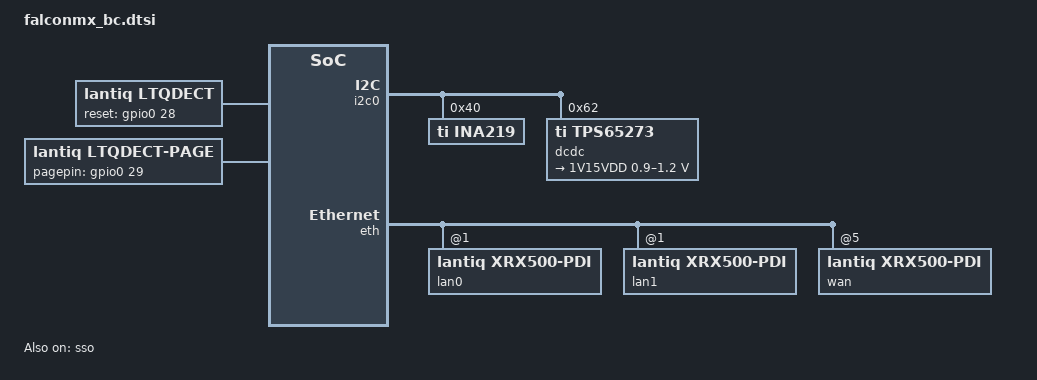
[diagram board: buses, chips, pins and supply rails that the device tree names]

/******************************************************************************
 ** Board configuration: Enable dect SS.
 ******************************************************************************/
/ {
dect {
	compatible = "lantiq,ltqdect";
	lantiq,dect-spi-int=<302>; /*271 GPIO base + GPIO 31 for cosic interrupt and driver Probe fn will look for string dect-spi-int */
	lantiq,dect-cs= <0>; /*DECT chip select port Number; This is used by SSC interface*/
	gpio-reset = <&gpio0 28 0>;
	status = "ok";
	};

dect-page {
	compatible = "lantiq,ltqdect-page";
	lantiq,pagebit= <1>; /*DECT Page Bit: Bit info meant for DECT*/
	lantiq,pagepin= <&gpio0 29 0>;
	status = "ok";
	};
};

/******************************************************************************
 ** Board configuration: Enable spi0 configuration.
 ******************************************************************************/

/******************************************************************************
 ** Board configuration: Enable PCIe board configuration.
 ** PCIE sub-system feature configuration, the pcie0/1/2 are defined in Soc level
 ******************************************************************************/
&pcie0 {
	status = "disabled";
	lantiq,rst-high-active = <0>; /* 0 - low activ, 1 -- high active */
	lantiq,rst-interval = <200>; /* in mili-seconds, up to 500 ms*/
	lantiq,inbound-swap = <1>; /* 0 -- no swap, 1 -- swap */
	lantiq,outbound-swap = <0>; /* 0 -- no swap, 1 -- swap */
	lantiq,phy-mode = <0>; /* 0 -36Mhz, 1 - 36MHzSSC, 2 - 25Mhz, 3 - 25MHzSSC, 4 - 100MHz, 5 - 100MHz SSC */
	reset-gpio = <&gpio0 21 0>; /* default value , it can be updated on board. */
	lantiq,cphy-mode = <0>; /* 0, 1, 4, 5 */
};

&pcie1 {
	status = "disabled";
	lantiq,rst-high-active = <0>; /* 0 - low activ, 1 -- high active */
	lantiq,rst-interval = <200>; /* in mili-seconds, up to 500 ms*/
	lantiq,inbound-swap = <1>; /* 0 -- no swap, 1 -- swap */
	lantiq,outbound-swap = <0>; /* 0 -- no swap, 1 -- swap */
	lantiq,phy-mode = <0>; /* 0 -36Mhz, 1 - 36MHzSSC, 2 - 25Mhz, 3 - 25MHzSSC, 4 - 100MHz, 5 - 100MHz SSC */
	reset-gpio = <&gpio0 22 0>; /* default value , it can be updated on board. */
	lantiq,cphy-mode = <0>;
};

/******************************************************************************
 ** Board configuration: Enable Shift register LED board configuration.
 ** Based on GRX500 Emulation Board.
 ******************************************************************************/
&sso {
	status = "okay";
	/* lantiq,rising; */
	#address-cells = <1>;
	#size-cells = <0>;
	lantiq,groups = <0xf>;

	/* led33-29 used by gphy */
	lantiq,phy2 = <0x1>;
	lantiq,phy3 = <0x1>;
	lantiq,phy4 = <0x1>;
	lantiq,phy5 = <0x1>;
	lantiq,phy6 = <0x1>;

	/* led28-14 (single color) */
	led28 {
		label = "led28";
		reg = <0x5>;
	};
	led27 {
		label = "led27";
		reg = <0x6>;
	};
	led26 {
		label = "led26";
		reg = <0x7>;
	};
	led25 {
		label = "led25";
		reg = <0x8>;
	};
	led24 {
		label = "led24";
		reg = <0x9>;
	};
	led23 {
		label = "led23";
		reg = <0xa>;
	};
	led22 {
		label = "led22";
		reg = <0xb>;
	};
	led21 {
		label = "led21";
		reg = <0xc>;
	};
	led20 {
		label = "led20";
		reg = <0xd>;
	};
	led19 {
		label = "led19";
		reg = <0xe>;
	};
	led18 {
		label = "led18";
		reg = <0xf>;
	};
	led17 {
		label = "led17";
		reg = <0x10>;
	};
	led16 {
		label = "led16";
		reg = <0x11>;
	};
	led15 {
		label = "led15";
		reg = <0x12>;
	};
	led14 {
		label = "led14";
		reg = <0x13>;
	};

	/* led5-2 (multicolor) */
	led5_r {
		label = "led5_r";
		reg = <0x14>;
	};
	led5_g {
		label = "led5_g";
		reg = <0x15>;
	};
	led5_b {
		label = "led5_b";
		reg = <0x16>;
	};
	led4_r {
		label = "led4_r";
		reg = <0x17>;
	};
	led4_g {
		label = "led4_g";
		reg = <0x18>;
	};
	led4_b {
		label = "led4_b";
		reg = <0x19>;
	};
	led3_r {
		label = "led3_r";
		reg = <0x1a>;
	};
	led3_g {
		label = "led3_g";
		reg = <0x1b>;
	};
	led3_b {
		label = "led3_b";
		reg = <0x1c>;
	};
	led2_r {
		label = "led2_r";
		reg = <0x1d>;
	};
	led2_g {
		label = "led2_g";
		reg = <0x1e>;
	};
	led2_b {
		label = "led2_b";
		reg = <0x1f>;
	};
};

/******************************************************************************
 ** Board configuration: Enable CoC power management board feature
 ******************************************************************************/
&i2c0 {
	status = "ok";
	ina219: ina219@40 {
		compatible = "ti,ina219";
		reg = <0x40>;
		shunt-resistor = <10000>;
		rail-name = "PWR_12V";
		};

	dcdc:tps65273@62 {
		status = "ok";
		compatible = "ti,tps65273";
		reg = <0x62>;

		regulators {
			dcdc2 {
				regulator-name = "1V15VDD";
				regulator-always-on;
				regulator-min-microvolt = <900000>;
				regulator-max-microvolt = <1200000>;
				vout-slew-rate = <0>;
				vout-psm-mode  = <0>;
				vout-irdrop-offset  = <10000>;
			};
		};
/*
		vout1_status = <1>;
		vout2_status = <1>;
		vout1_slew_rate = <0>;
		vout2_slew_rate = <0>;
		vout1_psm_mode = <0>;
		vout2_psm_mode = <0>;
*/
	};
};

/******************************************************************************
 ** Board configuration: Enable SSC1 to support standard SPI devices (SPI Flash)
 ******************************************************************************/
/*
&ssc1 {
		status="ok";
		mt29f@0 {
				#address-cells = <1>;
				#size-cells = <1>;
				reg = <0 1>;
				compatible = "spinand,mt29f";
				linux,modalias = "mt29f";
				spi-max-frequency = <1000000>;

				partition@0 {
					label = "uboot";
					reg = <0x000000 0x100000>;
				};

				partition@100000 {
					label = "data";
					reg = <0x100000 0x1000000>;
				};

				partition@1100000 {
					label = "res";
					reg = <0x1100000 0x6E00000>;
				};
			};
};
*/
/******************************************************************************
 ** Board configuration: Configure LAN/WAN interfaces
 ******************************************************************************/
&eth {
	status = "ok";

	lan0: interface@0 {
		compatible = "lantiq,xrx500-pdi";
		#address-cells = <1>;
		#size-cells = <0>;
		reg = <1>;
		intel,dp-dev-port = <3>;
		intel,dp-port-id = <3>;

		ethernet@1 {
			compatible = "lantiq,xrx500-pdi-port";
			reg = <1>;
			phy-mode = "rgmii";
		};
	};

	lan1: interface@1 {
		compatible = "lantiq,xrx500-pdi";
		#address-cells = <1>;
		#size-cells = <0>;
		reg = <1>;
		intel,dp-dev-port = <4>;
		intel,dp-port-id = <4>;

		ethernet@1 {
			compatible = "lantiq,xrx500-pdi-port";
			reg = <2>;
			phy-mode = "rgmii";
		};
	};

	wan: interface@5 {
		compatible = "lantiq,xrx500-pdi";
		#address-cells = <1>;
		#size-cells = <0>;
		reg = <5>;
		lantiq,wan = <1>;
		intel,dp-dev-port = <2>;
		intel,dp-port-id = <2>;

		ethernet@5 {
			compatible = "lantiq,xrx500-pdi-port";
			reg = <1>;
			phy-mode = "rgmii";
		};
	};
};

